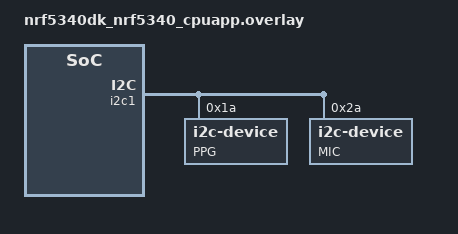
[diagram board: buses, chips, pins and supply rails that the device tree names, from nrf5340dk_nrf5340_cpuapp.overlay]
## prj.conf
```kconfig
#
# Copyright (c) 2018 Nordic Semiconductor
#
# SPDX-License-Identifier: LicenseRef-Nordic-5-Clause
#
CONFIG_NCS_SAMPLES_DEFAULTS=y

CONFIG_BT=y
CONFIG_BT_PERIPHERAL=y
CONFIG_BT_DEVICE_NAME="Nordic_LBS"


#i2c
CONFIG_I2C=y

# Enable the LBS service
CONFIG_BT_LBS=y
CONFIG_BT_LBS_POLL_BUTTON=y
CONFIG_DK_LIBRARY=y

CONFIG_SYSTEM_WORKQUEUE_STACK_SIZE=2048
```

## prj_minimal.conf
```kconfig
# BEGIN Configurations from basic/minimal

CONFIG_NCS_SAMPLES_DEFAULTS=y

CONFIG_BT=y
CONFIG_BT_PERIPHERAL=y
CONFIG_BT_DEVICE_NAME="Nordic_LBS"

# Enable the LBS service
CONFIG_BT_LBS=y
CONFIG_BT_LBS_POLL_BUTTON=y
CONFIG_DK_LIBRARY=y

# Drivers and peripherals
CONFIG_I2C=y
CONFIG_WATCHDOG=n
CONFIG_GPIO=n
CONFIG_SPI=n
CONFIG_SERIAL=n

# Power management

# Interrupts
CONFIG_DYNAMIC_INTERRUPTS=n
CONFIG_IRQ_OFFLOAD=n

# Memory protection
CONFIG_THREAD_STACK_INFO=n
CONFIG_THREAD_CUSTOM_DATA=n
CONFIG_FPU=n

# Boot
CONFIG_NCS_BOOT_BANNER=n
CONFIG_BOOT_BANNER=n
CONFIG_BOOT_DELAY=0

# Console
CONFIG_CONSOLE=n
CONFIG_UART_CONSOLE=n
CONFIG_STDOUT_CONSOLE=n
CONFIG_PRINTK=n
CONFIG_EARLY_CONSOLE=n

# Build
CONFIG_SIZE_OPTIMIZATIONS=y

# ARM
CONFIG_ARM_MPU=n
# END Configurations from basic/minimal

# In order to correctly tune the stack sizes for the threads the following
# Configurations can enabled to print the current use:
# CONFIG_THREAD_NAME=y
# CONFIG_THREAD_ANALYZER=y
# CONFIG_THREAD_ANALYZER_AUTO=y
# CONFIG_THREAD_ANALYZER_RUN_UNLOCKED=y
# CONFIG_THREAD_ANALYZER_USE_PRINTK=y
# CONFIG_CONSOLE=y
# CONFIG_UART_CONSOLE=y
# CONFIG_SERIAL=y
# CONFIG_PRINTK=y

# Example output of thread analyzer
# SDC RX              : unused 816 usage 208 / 1024 (20 %)
# BT RX               : unused 1784 usage 416 / 2200 (18 %)
# BT TX               : unused 992 usage 544 / 1536 (35 %)
# thread_analyzer     : unused 136 usage 376 / 512 (73 %)
# sysworkq            : unused 1824 usage 224 / 2048 (10 %)
# MPSL signal         : unused 520 usage 504 / 1024 (49 %)
# idle 00             : unused 192 usage 64 / 256 (25 %)
# main                : unused 136 usage 888 / 1024 (86 %)
# Configurations set based on thread analyzer output.
CONFIG_BT_RX_STACK_SIZE=1024
CONFIG_BT_HCI_TX_STACK_SIZE_WITH_PROMPT=y
CONFIG_BT_HCI_TX_STACK_SIZE=640
CONFIG_SYSTEM_WORKQUEUE_STACK_SIZE=1536
CONFIG_MPSL_WORK_STACK_SIZE=640
CONFIG_MAIN_STACK_SIZE=1024
CONFIG_IDLE_STACK_SIZE=128
CONFIG_ISR_STACK_SIZE=1024

# Disable features not needed
CONFIG_TIMESLICING=n
CONFIG_COMMON_LIBC_MALLOC=n
CONFIG_LOG=n
CONFIG_ASSERT=n

# Disable Bluetooth features not needed
CONFIG_BT_DEBUG_NONE=y
CONFIG_BT_ASSERT=n
CONFIG_BT_DATA_LEN_UPDATE=n
CONFIG_BT_PHY_UPDATE=n
CONFIG_BT_GATT_CACHING=n
CONFIG_BT_GATT_SERVICE_CHANGED=n
CONFIG_BT_GAP_PERIPHERAL_PREF_PARAMS=n
CONFIG_BT_SETTINGS_CCC_LAZY_LOADING=y
CONFIG_BT_HCI_VS=n

# Disable Bluetooth controller features not needed
CONFIG_BT_CTLR_PRIVACY=n
CONFIG_BT_CTLR_PHY_2M=n

# Reduce Bluetooth buffers
CONFIG_BT_BUF_EVT_DISCARDABLE_COUNT=1
CONFIG_BT_BUF_EVT_DISCARDABLE_SIZE=43
CONFIG_BT_BUF_EVT_RX_COUNT=2

CONFIG_BT_CONN_TX_MAX=3
CONFIG_BT_L2CAP_TX_BUF_COUNT=2
CONFIG_BT_ATT_TX_COUNT=2
CONFIG_BT_BUF_ACL_TX_COUNT=3
CONFIG_BT_BUF_ACL_TX_SIZE=27
```

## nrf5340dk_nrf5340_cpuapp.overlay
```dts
// To get started, press Ctrl+Space to bring up the completion menu and view the available nodes.

// You can also use the buttons in the sidebar to perform actions on nodes.
// Actions currently available include:

// * Enabling / disabling the node
// * Adding the bus to a bus
// * Removing the node
// * Connecting ADC channels

// For more help, browse the DeviceTree documentation at https://docs.zephyrproject.org/latest/guides/dts/index.html
// You can also visit the nRF DeviceTree extension documentation at https://docs.nordicsemi.com/bundle/nrf-connect-vscode/page/guides/ncs_configure_app.html#devicetree-support-in-the-extension

//need address of ppg and mic i2c target address, 01a and 02a used as placeholders

&i2c1 {
    ppg: ppg@01a{
        compatible ="i2c-device";
        reg        = < 0x1a >;
        label      = "PPG";
    };

    mic: mic@02a{
        compatible = "i2c-device";
        reg        = < 0x2a >;
        label      = "MIC";
    };
};
```

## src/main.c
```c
/*
 * Copyright (c) 2018 Nordic Semiconductor ASA
 *
 * SPDX-License-Identifier: LicenseRef-Nordic-5-Clause
 */

#include <zephyr/types.h>
#include <stddef.h>
#include <string.h>
#include <errno.h>
#include <zephyr/sys/printk.h>
#include <zephyr/sys/byteorder.h>
#include <zephyr/kernel.h>
#include <zephyr/drivers/gpio.h>
#include <soc.h>

#include <zephyr/bluetooth/bluetooth.h>
#include <zephyr/bluetooth/hci.h>
#include <zephyr/bluetooth/conn.h>
#include <zephyr/bluetooth/uuid.h>
#include <zephyr/bluetooth/gatt.h>

#include <bluetooth/services/lbs.h>

#include <zephyr/settings/settings.h>

#include <dk_buttons_and_leds.h>

#include <zephyr/drivers/i2c.h>

#define DEVICE_NAME             CONFIG_BT_DEVICE_NAME
#define DEVICE_NAME_LEN         (sizeof(DEVICE_NAME) - 1)


#define RUN_STATUS_LED          DK_LED1
#define CON_STATUS_LED          DK_LED2
#define RUN_LED_BLINK_INTERVAL  1000

#define USER_LED                DK_LED3

#define USER_BUTTON             DK_BTN1_MSK

/* GDP Related Params */

//i2c

#define BT_POLLING_RATE     1000 //send data over bt every 1 second

#define PPG_POLLING_RATE	40
#define MIC_POLLING_RATE    40
#define PPG_BUFFER_SIZE     BT_POLLING_RATE/PPG_POLLING_RATE
#define MIC_BUFFER_SIZE     BT_POLLING_RATE/MIC_POLLING_RATE

#define I2C1_PPG_NODE DT_NODELABEL(ppg);
#define I2C1_MIC_NODE DT_NODELABEL(mic);

//BT
static K_SEM_DEFINE(ble_init_ok, 0, 1);


static bool app_button_state;

//Get i2c bus pointer and target address

static const struct i2c_dt_spec ppg_i2c = I2C_DT_SPEC_GET(I2C1_PPG_NODE);
static const struct i2c_dt_spec mic_i2c = I2C_DT_SPEC_GET(I2C1_MIC_NODE);

//Declare FIFOs for I2C Data 
//A FIFO is a kernel object that implements a traditional first in, first out (FIFO) queue, allowing threads and ISRs to add and remove data items of any size.
static K_FIFO_DEFINE(ppg_data_fifo); 
static K_FIFO_DEFINE(mic_data_fifo);

//Declare the struct of the data item of the FIFOs
struct ppg_data_t {
	void *fifo_reserved;
	int32_t data[PPG_BUFFER_SIZE];
	uint16_t len;
};

struct mic_data_t {
	void *fifo_reserved;
	int32_t data[MIC_BUFFER_SIZE];
	uint16_t len;
};

static void i2c_cb()
{
	k_fifo_put(&ppg_data_fifo, )
}

//Define Thread to send data over bluetooth
void ble_write_thread(void)
{
	/* Don't go any further until BLE is initialized */
	k_sem_take(&ble_init_ok, K_FOREVER);
	struct uart_data_t nus_data = {
		.len = 0,
	};

	for (;;) {
		/* Wait indefinitely for data to be sent over bluetooth */
		struct uart_data_t *buf = k_fifo_get(&ppg_data_fifo, K_FOREVER);

		int plen = MIN(sizeof(nus_data.data) - nus_data.len, buf->len);
		int loc = 0;

		while (plen > 0) {
			memcpy(&nus_data.data[nus_data.len], &buf->data[loc], plen);
			nus_data.len += plen;
			loc += plen;

			if (nus_data.len >= sizeof(nus_data.data) ||
			    (nus_data.data[nus_data.len - 1] == '\n') ||
			    (nus_data.data[nus_data.len - 1] == '\r')) {
				if (bt_nus_send(NULL, nus_data.data, nus_data.len)) {
					LOG_WRN("Failed to send data over BLE connection");
				}
				nus_data.len = 0;
			}

			plen = MIN(sizeof(nus_data.data), buf->len - loc);
		}

		k_free(buf);
	}
}

K_THREAD_DEFINE(ble_write_thread_id, STACKSIZE, ble_write_thread, NULL, NULL, NULL, PRIORITY, 0, 0);

// Generate random PPG data - Later should be connected to real PPG sensor

// Generate random Microphone data

// Method to process audio bluetooth data for the codec


/* Bluetooth */
static const struct bt_data ad[] = {
	BT_DATA_BYTES(BT_DATA_FLAGS, (BT_LE_AD_GENERAL | BT_LE_AD_NO_BREDR)),
	BT_DATA(BT_DATA_NAME_COMPLETE, DEVICE_NAME, DEVICE_NAME_LEN),
};

static const struct bt_data sd[] = {
	BT_DATA_BYTES(BT_DATA_UUID128_ALL, BT_UUID_LBS_VAL),
};

static void connected(struct bt_conn *conn, uint8_t err)
{
	if (err) {
		printk("Connection failed, err 0x%02x %s\n", err, bt_hci_err_to_str(err));
		return;
	}

	printk("Connected\n");

	dk_set_led_on(CON_STATUS_LED); //If connected, set led 2 on
}

static void disconnected(struct bt_conn *conn, uint8_t reason)
{
	printk("Disconnected, reason 0x%02x %s\n", reason, bt_hci_err_to_str(reason));

	dk_set_led_off(CON_STATUS_LED); //If connected, set led 2 off
}

BT_CONN_CB_DEFINE(conn_callbacks) = {
	.connected        = connected,
	.disconnected     = disconnected,
};

static struct bt_conn_auth_cb conn_auth_callbacks;
static struct bt_conn_auth_info_cb conn_auth_info_callbacks;


static void app_led_cb(bool led_state)
{
	dk_set_led(USER_LED, led_state);
}

static bool app_button_cb(void)
{
	return app_button_state;
}

static struct bt_lbs_cb lbs_callbacs = {
	.led_cb    = app_led_cb,
	.button_cb = app_button_cb,
};

static void button_changed(uint32_t button_state, uint32_t has_changed)
{
	if (has_changed & USER_BUTTON) {
		uint32_t user_button_state = button_state & USER_BUTTON;

		bt_lbs_send_button_state(user_button_state);
		app_button_state = user_button_state ? true : false;
	}
}

static int init_button(void)
{
	int err;

	err = dk_buttons_init(button_changed);
	if (err) {
		printk("Cannot init buttons (err: %d)\n", err);
	}

	return err;
}

int main(void)
{
	int blink_status = 0;
	int err;

	printk("Starting Bluetooth Peripheral LBS example\n");

	err = dk_leds_init();
	if (err) {
		printk("LEDs init failed (err %d)\n", err);
		return 0;
	}

	err = init_button();
	if (err) {
		printk("Button init failed (err %d)\n", err);
		return 0;
	}


	/* GDP */
	//Check if i2c bus is working
	if (!device_is_ready(dev_i2c.bus)) {
		printk("I2C bus %s is not ready!\n\r",dev_i2c.bus->name);
		return;
	}


	err = bt_enable(NULL);
	if (err) {
		printk("Bluetooth init failed (err %d)\n", err);
		return 0;
	}

	printk("Bluetooth initialized\n");

	k_sem_give(&ble_init_ok);

	if (IS_ENABLED(CONFIG_SETTINGS)) {
		settings_load();
	}

	err = bt_lbs_init(&lbs_callbacs);
	if (err) {
		printk("Failed to init LBS (err:%d)\n", err);
		return 0;
	}

	err = bt_le_adv_start(BT_LE_ADV_CONN, ad, ARRAY_SIZE(ad),
			      sd, ARRAY_SIZE(sd));
	if (err) {
		printk("Advertising failed to start (err %d)\n", err);
		return 0;
	}

	printk("Advertising successfully started\n");

	for (;;) {
		dk_set_led(RUN_STATUS_LED, (++blink_status) % 2);
		k_sleep(K_MSEC(RUN_LED_BLINK_INTERVAL));
	}
}
```
